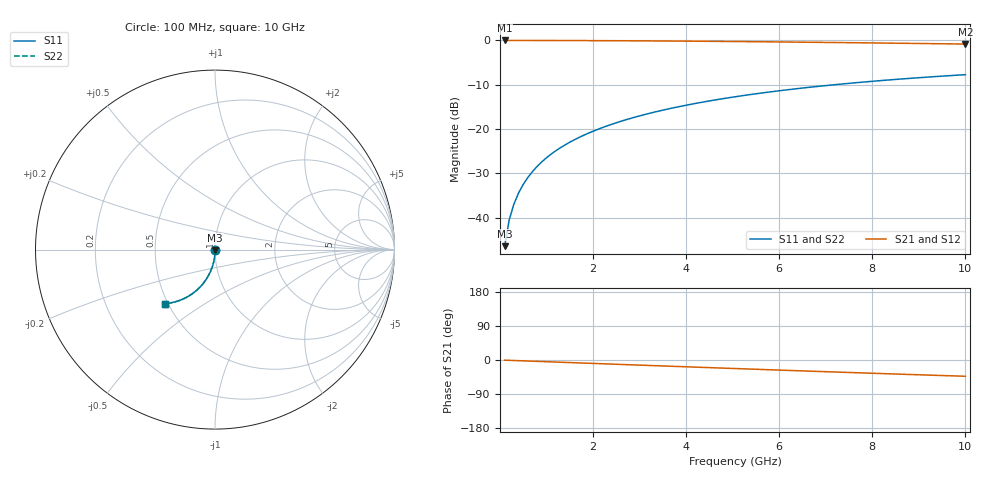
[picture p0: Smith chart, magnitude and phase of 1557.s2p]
# Hz S RI R 50.00
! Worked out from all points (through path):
!   100 points, 100 MHz to 10 GHz, reference 50 ohm
!   highest |S21| = 0.00 dB at 100 MHz (marker M1); lowest = -0.8 dB at 10 GHz (marker M2)
!   group delay of S21, straight-line fit = 12 ps
!   lowest |S11| = -46.4 dB at 100 MHz (marker M3), VSWR 1.01, Z = 50 - j0.476 ohm
!   |S11| at or under -10 dB: start of sweep to 7.18 GHz
!   |S22| runs from -46.4 to -7.7 dB; largest |S21 - S12| = 0
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1e8  0.000449 -0.00475  0.9995 -0.00787  0.9995 -0.00787  0.000449 -0.00475
2e8  0.000334 -0.00951  0.9993 -0.0157  0.9993 -0.0157  0.000334 -0.00951
3e8  0.000143 -0.0143  0.9991 -0.0236  0.9991 -0.0236  0.000143 -0.0143
4e8  -0.000123 -0.019  0.9988 -0.0315  0.9988 -0.0315  -0.000123 -0.019
5e8  -0.000464 -0.0238  0.9984 -0.0393  0.9984 -0.0393  -0.000464 -0.0238
6e8  -0.00088 -0.0285  0.9979 -0.0472  0.9979 -0.0472  -0.00088 -0.0285
7e8  -0.00137 -0.0332  0.9974 -0.0551  0.9974 -0.0551  -0.00137 -0.0332
8e8  -0.00194 -0.0379  0.9967 -0.0629  0.9967 -0.0629  -0.00194 -0.0379
9e8  -0.00257 -0.0426  0.996 -0.0707  0.996 -0.0707  -0.00257 -0.0426
1.1e9  -0.00407 -0.052  0.9943 -0.0864  0.9943 -0.0864  -0.00407 -0.052
1.4e9  -0.00688 -0.066  0.9911 -0.1097  0.9911 -0.1097  -0.00688 -0.066
1.8e9  -0.0116 -0.0844  0.9858 -0.1406  0.9858 -0.1406  -0.0116 -0.0844
2.1e9  -0.0159 -0.0979  0.9809 -0.1635  0.9809 -0.1635  -0.0159 -0.0979
2.5e9  -0.0226 -0.1156  0.9732 -0.1938  0.9732 -0.1938  -0.0226 -0.1156
2.9e9  -0.0304 -0.1328  0.9644 -0.2235  0.9644 -0.2235  -0.0304 -0.1328
3.4e9  -0.0416 -0.1535  0.9517 -0.2599  0.9517 -0.2599  -0.0416 -0.1535
4.2e9  -0.0625 -0.1844  0.9277 -0.3161  0.9277 -0.3161  -0.0625 -0.1844
5.1e9  -0.09 -0.2154  0.8959 -0.3757  0.8959 -0.3757  -0.09 -0.2154
5.9e9  -0.1174 -0.2392  0.864 -0.425  0.864 -0.425  -0.1174 -0.2392
6.7e9  -0.147 -0.2593  0.8292 -0.4708  0.8292 -0.4708  -0.147 -0.2593
8.4e9  -0.2144 -0.2889  0.7481 -0.5557  0.7481 -0.5557  -0.2144 -0.2889
1e10  -0.2798 -0.3008  0.6665 -0.6203  0.6665 -0.6203  -0.2798 -0.3008
